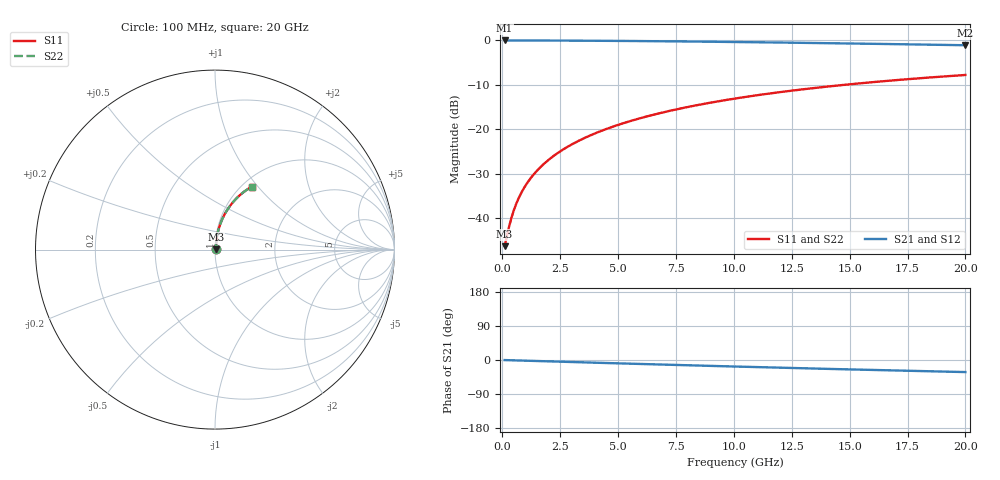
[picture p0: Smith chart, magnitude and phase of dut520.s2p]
! Touchstone file exported from HFSS 2024.1.0
!  File:  C:/UserFiles/LocalFiles/RDL_TSV_Batchsim/temp_RDL_bottom_520_1779688079.aedt
!  Generated:  01:50:35 PM May 25, 2026
!  Design:  RDL_bottom
!  Project:  temp_RDL_bottom_520_1779688079
!  Setup:  Setup1
!  Solution:  Sweep
! Variables:
!  dtsv = 10.80580581um
!  hbump = 3um
!  htsv = 83.94um
!  ldown = 347.75um
!  lrdl = 100um
!  p = 40
!  p1 = 52.82um
!  rhole = 1um
!  t = 450um
!  tdown = 2.77um
!  trdl = 3.915915916um
!  wdown = 10.71um
!  wrdl = 20um
# GHz S MA R 50.000000
! Terminal data exported
! Port[1] = RDL1_T1
! Port[2] = RDL1_T2
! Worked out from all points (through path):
!   200 points, 100 MHz to 20 GHz, reference 50 ohm
!   highest |S21| = -0.04 dB at 100 MHz (marker M1); lowest = -1.1 dB at 20 GHz (marker M2)
!   group delay of S21, straight-line fit = 4.43 ps
!   lowest |S11| = -46.3 dB at 100 MHz (marker M3), VSWR 1.01, Z = 50.4 + j0.233 ohm
!   |S11| at or under -10 dB: start of sweep to 14.79 GHz
!   |S22| runs from -46.3 to -7.8 dB; largest |S21 - S12| = 3.5e-15
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0.1  0.004854 28.4  0.9957 -0.2  0.9957 -0.2  0.004854 28.4
! Gamma 0 0 0 0
! Port Impedance 50 0 50 0
0.3  0.00817 57.6  0.9956 -0.5  0.9956 -0.5  0.00817 57.6
0.4  0.01021 64.1  0.9956 -0.7  0.9956 -0.7  0.01021 64.1
0.5  0.01232 68.3  0.9955 -0.9  0.9955 -0.9  0.01232 68.3
0.6  0.01448 71.2  0.9954 -1.1  0.9954 -1.1  0.01448 71.2
0.7  0.01666 73.2  0.9953 -1.3  0.9953 -1.3  0.01666 73.2
0.9  0.02104 76.0  0.995 -1.6  0.995 -1.6  0.02104 76.0
1.2  0.02765 78.4  0.9946 -2.2  0.9946 -2.2  0.02765 78.4
1.4  0.03206 79.4  0.9944 -2.5  0.9944 -2.5  0.03206 79.4
1.7  0.03869 80.4  0.9939 -3.1  0.9939 -3.1  0.03869 80.4
2.2  0.04977 81.2  0.993 -3.9  0.993 -3.9  0.04977 81.2
2.8  0.06309 81.4  0.9916 -5.0  0.9916 -5.0  0.06309 81.4
3.5  0.07865 81.3  0.9897 -6.2  0.9897 -6.2  0.07865 81.3
4.2  0.09421 80.8  0.9874 -7.5  0.9874 -7.5  0.09421 80.8
5  0.112 80.1  0.9844 -8.8  0.9844 -8.8  0.112 80.1
5.9  0.1319 79.1  0.9805 -10.4  0.9805 -10.4  0.1319 79.1
6.8  0.1516 78.0  0.9761 -11.9  0.9761 -11.9  0.1516 78.0
8.3  0.1842 76.0  0.9678 -14.4  0.9678 -14.4  0.1842 76.0
10.1  0.2225 73.5  0.9566 -17.3  0.9566 -17.3  0.2225 73.5
13.4  0.2894 68.7  0.9332 -22.5  0.9332 -22.5  0.2894 68.7
16.7  0.3513 64.1  0.9073 -27.3  0.9073 -27.3  0.3513 64.1
20  0.4075 59.6  0.88 -31.9  0.88 -31.9  0.4075 59.6
